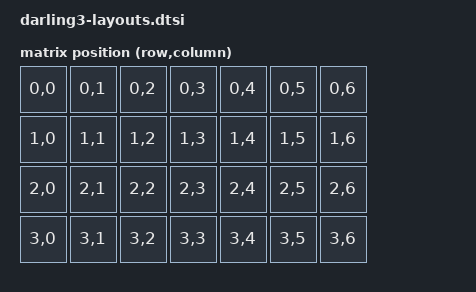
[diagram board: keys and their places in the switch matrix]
/* DarlingV2 - только мех-свичи 4×7, без HE */

#include <dt-bindings/zmk/matrix_transform.h>
#include <physical_layouts.dtsi>

/ {
    chosen {
        zmk,kscan = &kscan;
        zmk,physical-layout = &physical_layout0;
    };

    /* Мех-свичи 4×7 (28 кнопок) */
    kscan: kscan0 {
        compatible = "zmk,kscan-gpio-matrix";
        wakeup-source;
        diode-direction = "col2row";
        /* col-gpios и row-gpios в overlay */
    };

    physical_layout0: physical_layout_0 {
        compatible = "zmk,physical-layout";
        display-name = "Darling3 Default";
        kscan = <&kscan>;
        transform = <&default_transform>;
        
        keys = 
            /* Row 0: Tab, Q, W, E, R, T, Y */
            <&key_physical_attrs 100 100   50  100  0  0  0>
            , <&key_physical_attrs 100 100 150  100  0  0  0>
            , <&key_physical_attrs 100 100 250  100  0  0  0>
            , <&key_physical_attrs 100 100 350  100  0  0  0>
            , <&key_physical_attrs 100 100 450  100  0  0  0>
            , <&key_physical_attrs 100 100 550  100  0  0  0>
            , <&key_physical_attrs 100 100 650  100  0  0  0>

            /* Row 1: caps, A, S, D, F, G, H */
            , <&key_physical_attrs 100 100   50  200  0  0  0>
            , <&key_physical_attrs 100 100 150  200  0  0  0>
            , <&key_physical_attrs 100 100 250  200  0  0  0>
            , <&key_physical_attrs 100 100 350  200  0  0  0>
            , <&key_physical_attrs 100 100 450  200  0  0  0>
            , <&key_physical_attrs 100 100 550  200  0  0  0>
            , <&key_physical_attrs 100 100 650  200  0  0  0>

            /* Row 2: shift, Z, X, C, V, B , N */
            , <&key_physical_attrs 100 100   50  300  0  0  0>
            , <&key_physical_attrs 100 100 150  300  0  0  0>
            , <&key_physical_attrs 100 100 250  300  0  0  0>
            , <&key_physical_attrs 100 100 350  300  0  0  0>
            , <&key_physical_attrs 100 100 450  300  0  0  0>
            , <&key_physical_attrs 100 100 550  300  0  0  0>
            , <&key_physical_attrs 100 100 650  300  0  0  0>

            /* Row 3: ctrl, alt, win, Up, Down, Space, Return */
            , <&key_physical_attrs 100 100   50  400  0  0  0>
            , <&key_physical_attrs 100 100 150  400  0  0  0>
            , <&key_physical_attrs 100 100 250  400  0  0  0>
            , <&key_physical_attrs 100 100 350  400  0  0  0>
            , <&key_physical_attrs 100 100 450  400  0  0  0>
            , <&key_physical_attrs 100 100 550  400  0  0  0>
            , <&key_physical_attrs 100 100 650  400  0  0  0>

            
            ;
    };

    default_transform: default_transform {
        compatible = "zmk,matrix-transform";
        columns = <7>;
        rows = <4>;
        map = <
            RC(0,0) RC(0,1) RC(0,2) RC(0,3) RC(0,4) RC(0,5) RC(0,6)
            RC(1,0) RC(1,1) RC(1,2) RC(1,3) RC(1,4) RC(1,5) RC(1,6)
            RC(2,0) RC(2,1) RC(2,2) RC(2,3) RC(2,4) RC(2,5) RC(2,6)
            RC(3,0) RC(3,1) RC(3,2) RC(3,3) RC(3,4) RC(3,5) RC(3,6)
        >;
    };
};
